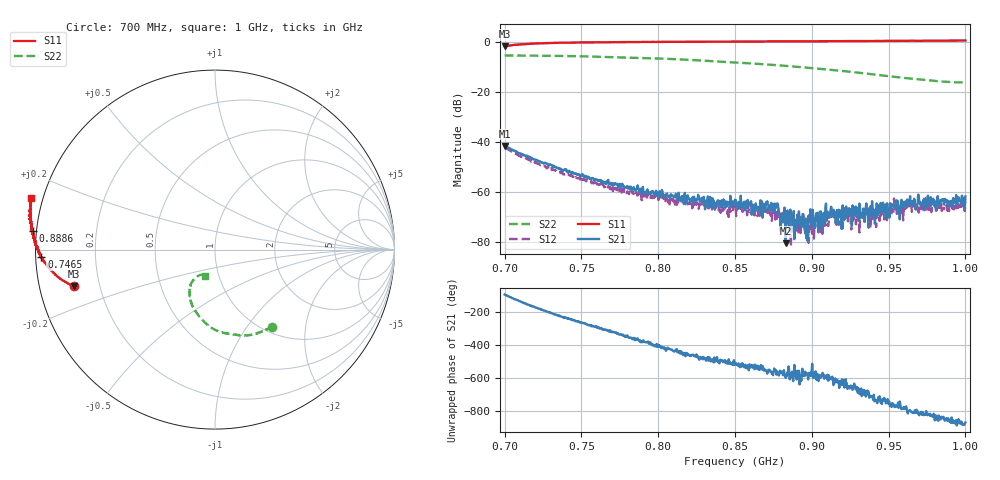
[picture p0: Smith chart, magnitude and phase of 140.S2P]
! C:\Users\rflab\Downloads\Lab5_KD_ZW\Q2\728 MHz\140.S2P
! Touchstone 1.1 file saved by VNA.EXE V1.65 (www.ke5fx.com/gpib/readme.htm)
! 11/18/2024 9:17:32 PM
!  Source: HEWLETT PACKARD,8753D,0,6.14
!  Min freq: 7.000000E+008 Hz
!  Max freq: 1.000000E+009 Hz
!  Points: 801
!  Params: S11 S21 S12 S22
# GHZ S MA R 50
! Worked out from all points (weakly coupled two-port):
!   801 points, 700 MHz to 1 GHz, reference 50 ohm
!   highest |S21| = -41.62 dB at 700 MHz (marker M1); lowest = -80.6 dB at 883 MHz (marker M2)
!   lowest |S11| = -1.8 dB at 700 MHz (marker M3), VSWR 9.74, Z = 5.22 - j6.29 ohm
!   |S11| at or under -10 dB: nowhere
!   |S22| runs from -16.2 to -5.4 dB; largest |S21 - S12| = 0.0027
!   S11 on the Smith chart (normalised r, x): 700 MHz: 0.10, -0.13; 746.5 MHz: 0.02, -0.02; 888.6 MHz: -0.01, +0.05; 1 GHz: -0.03, +0.14
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0.7  0.8138 -165.5  0.008299 -93.6  0.007683 -112.3  0.5344 -53.6
0.7465  0.9685 -177.5  0.002291 105.6  0.001924 87.6  0.5164 -67.0
0.75025  0.9706 -177.8  0.002063 94.1  0.00175 76.5  0.5129 -68.3
0.800125  0.9964 178.7  0.000807 -38.6  0.000683 -60.6  0.4632 -85.1
0.85  1.014 176.3  0.000696 -155.7  0.000545 -150.0  0.3854 -102.5
0.877  1.019 175.1  0.000485 142.3  0.00026 122.8  0.3412 -111.3
0.88  1.019 175.0  0.000332 153.4  0.000287 124.7  0.3353 -112.3
0.883  1.018 174.8  9.3e-05 122.6  0.000202 138.1  0.3304 -113.3
0.884125  1.019 174.8  0.000424 156.8  0.000252 109.5  0.3279 -113.5
0.885625  1.019 174.7  0.000206 114.4  0.000249 115.2  0.3252 -113.9
0.888625  1.021 174.3  0.000113 -159.0  0.000231 100.5  0.3201 -114.7
0.89125  1.022 174.3  0.000231 127.2  0.000141 99.0  0.3144 -115.6
0.893125  1.026 174.3  0.000283 103.8  0.000314 133.4  0.3105 -116.1
0.896125  1.023 174.2  0.000277 141.8  0.000196 77.6  0.3054 -116.9
0.90025  1.025 174.0  0.000193 -152.2  0.000144 94.1  0.298 -118.0
0.905875  1.027 173.7  0.000404 131.7  0.000156 109.1  0.2871 -119.3
0.913  1.027 173.5  0.000331 114.5  0.00028 123.7  0.2735 -121.0
0.93025  1.031 172.1  0.000265 40.2  0.000322 16.2  0.2419 -124.4
0.950125  1.046 170.5  0.000438 -19.8  0.000412 -21.4  0.2057 -125.3
0.9745  1.051 168.5  0.000522 -77.4  0.000589 -116.4  0.1716 -122.2
0.976375  1.052 168.2  0.000619 -97.7  0.000435 -128.4  0.1694 -121.7
1  1.063 164.4  0.000808 -146.9  0.000626 -166.5  0.155 -111.1
